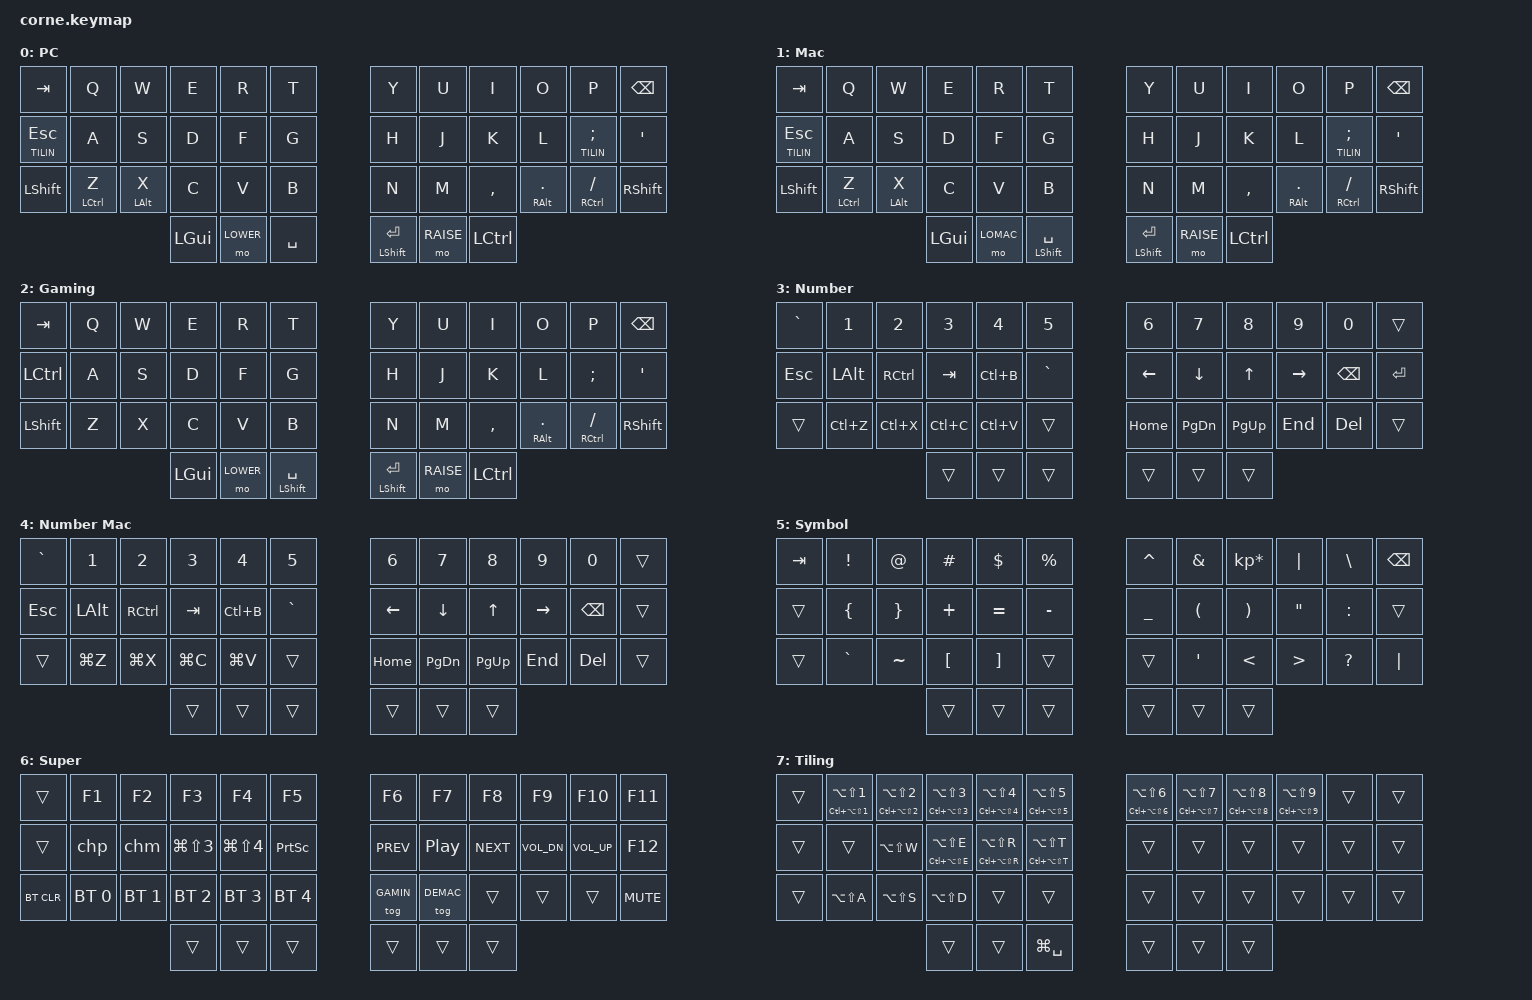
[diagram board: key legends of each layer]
 /*
 * Copyright (c) 2020 The ZMK Contributors
 *
 * SPDX-License-Identifier: MIT
 */

#include <behaviors.dtsi>
#include <dt-bindings/zmk/keys.h>
#include <dt-bindings/zmk/bt.h>

#define DEFAU 0
#define DEMAC 1
#define GAMIN 2
#define LOWER 3
#define LOMAC 4
#define RAISE 5
#define SUPER 6
#define TILIN 7


&kscan0 {
    debounce-press-ms = <1>;
    debounce-release-ms = <5>;
};

/ {
        conditional_layers {
            compatible = "zmk,conditional-layers";
            tri_layer {
                if-layers = <3 5>;
                then-layer = <6>;
            };
            tri_layer_mac {
                if-layers = <4 5>;
                then-layer = <6>;
            };
        };
        behaviors {
            hm: homerow_mods {
                compatible = "zmk,behavior-hold-tap";
                label = "HOMEROW_MODS";
                #binding-cells = <2>;
                tapping-term-ms = <200>;
                quick-tap-ms = <0>;
                flavor = "tap-preferred";
                bindings = <&kp>, <&kp>;
            };

            hk: homerow_hold {
                compatible = "zmk,behavior-hold-tap";
                label = "HOLD_MOD";
                #binding-cells = <2>;
                tapping-term-ms = <150>;
                quick-tap-ms = <0>;
                flavor = "balanced";
                bindings = <&kp>, <&kp>;
            };

            hs: hold_custom {
                compatible = "zmk,behavior-hold-tap";
                label = "HOLD_CUSTOM";
                #binding-cells = <2>;
                tapping-term-ms = <500>;
                quick-tap-ms = <0>;
                flavor = "tap-preferred";
                bindings = <&kp>, <&kp>;
            };

        };
        macros {
            chm: chm {
                label = "change_mac";
                compatible = "zmk,behavior-macro";
                #binding-cells = <0>;
                bindings
                    = <&macro_tap &kp F14>
                    , <&macro_tap &bt BT_SEL 1>
                    ;
            };

            chp: chp {
                label = "change_pc";
                compatible = "zmk,behavior-macro";
                #binding-cells = <0>;
                wait-ms = <300>;
                bindings
                    =  <&macro_tap &bt BT_SEL 0>
                    , <&macro_tap &kp F15>
                    ;
            };
        };

        keymap {
                compatible = "zmk,keymap";

                default_layer {
                        label = "PC";
                        bindings = <
   &kp TAB       &kp Q       &kp W      &kp E &kp R &kp T         &kp Y &kp U  &kp I     &kp O        &kp P          &kp BSPC
   &lt TILIN ESC &kp A       &kp S      &kp D &kp F &kp G         &kp H &kp J  &kp K     &kp L        &lt TILIN SEMI &kp SQT
   &kp LSHFT     &hm LCTRL Z &hm LALT X &kp C &kp V &kp B         &kp N &kp M  &kp COMMA &hm RALT DOT &hm RCTRL FSLH &kp RSHFT
                  &kp LGUI &mo LOWER &kp SPACE   &hm LSHFT RET &mo RAISE &kp LCTRL
                        >;
                };

                mac {
                        label = "Mac";
                        bindings = <
   &kp TAB       &kp Q       &kp W      &kp E &kp R &kp T         &kp Y &kp U  &kp I     &kp O        &kp P          &kp BSPC
   &lt TILIN ESC &kp A       &kp S      &kp D &kp F &kp G         &kp H &kp J  &kp K     &kp L        &lt TILIN SEMI &kp SQT
   &kp LSHFT     &hm LCTRL Z &hm LALT X &kp C &kp V &kp B         &kp N &kp M  &kp COMMA &hm RALT DOT &hm RCTRL FSLH &kp RSHFT
                  &kp LGUI &mo LOMAC &hm LSHFT SPACE   &hm LSHFT RET &mo RAISE &kp LCTRL
                        >;
                };

                gaming_layer {
                        label = "Gaming";
                        bindings = <
   &kp TAB   &kp Q       &kp W      &kp E &kp R &kp T         &kp Y &kp U  &kp I     &kp O        &kp P          &kp BSPC
   &kp LCTRL &kp A       &kp S      &kp D &kp F &kp G         &kp H &kp J  &kp K     &kp L        &kp SEMI       &kp SQT
   &kp LSHFT &kp Z       &kp X      &kp C &kp V &kp B         &kp N &kp M  &kp COMMA &hm RALT DOT &hm RCTRL FSLH &kp RSHFT
                  &kp LGUI &mo LOWER &hm LSHFT SPACE   &hk LSHFT RET &mo RAISE &kp LCTRL
                        >;
                };

                lower_layer {
                        label = "Number";
                        bindings = <
   &kp GRAVE  &kp N1       &kp N2       &kp N3       &kp N4       &kp N5         &kp N6   &kp N7    &kp N8    &kp N9    &kp N0   &trans
   &kp ESC    &kp LALT     &kp RCTRL    &kp TAB      &kp LC(B)    &kp GRAVE      &kp LEFT &kp DOWN  &kp UP    &kp RIGHT &kp BSPC &kp RET
   &trans     &kp LC(Z)    &kp LC(X)    &kp LC(C)    &kp LC(V)    &trans         &kp HOME &kp PG_DN &kp PG_UP &kp END   &kp DEL  &trans
                          	        &trans       &trans       &trans      &trans  &trans    &trans
                        >;
                };

                lower_mac_layer {
                        label = "Number Mac";
                        bindings = <
   &kp GRAVE  &kp N1       &kp N2       &kp N3       &kp N4       &kp N5         &kp N6   &kp N7    &kp N8    &kp N9    &kp N0   &trans
   &kp ESC    &kp LALT    &kp RCTRL     &kp TAB      &kp LC(B)    &kp GRAVE      &kp LEFT &kp DOWN  &kp UP    &kp RIGHT &kp BSPC &trans
   &trans     &kp LG(Z)    &kp LG(X)    &kp LG(C)    &kp LG(V)    &trans         &kp HOME &kp PG_DN &kp PG_UP &kp END   &kp DEL  &trans
                          	        &trans       &trans       &trans      &trans  &trans    &trans
                        >;
                };

                raise_layer {
                        label = "Symbol";
                        bindings = <
   &kp TAB   &kp EXCL  &kp AT    &kp HASH &kp DLLR    &kp PRCNT   &kp CARET &kp AMPS  &kp KP_MULTIPLY &kp PIPE  &kp BSLH  &kp BSPC
   &trans    &kp LBRC  &kp RBRC  &kp PLUS &kp EQUAL   &kp MINUS   &kp UNDER &kp LPAR  &kp RPAR        &kp DQT   &kp COLON &trans
   &trans    &kp GRAVE &kp TILDE &kp LBKT &kp RBKT    &trans      &trans    &kp SQT   &kp LT          &kp GT    &kp QMARK &kp PIPE  
                    	       &trans   &trans       &trans      &trans    &trans    &trans
                        >;
                };

                super_layer {
                        label = "Super";
                        bindings = <
   &trans      &kp F1       &kp F2       &kp F3        &kp F4        &kp F5         &kp F6     &kp F7     &kp F8     &kp F9       &kp F10      &kp F11
   &trans      &chp         &chm          &kp LG(LS(N3)) &kp LG(LS(N4)) &kp PSCRN      &kp C_PREV &kp C_PP   &kp C_NEXT &kp C_VOL_DN &kp C_VOL_UP &kp F12
   &bt BT_CLR  &bt BT_SEL 0 &bt BT_SEL 1 &bt BT_SEL 2  &bt BT_SEL 3  &bt BT_SEL 4   &tog GAMIN     &tog DEMAC     &trans     &trans       &trans       &kp C_MUTE
                          	        &trans        &trans       &trans         &trans     &trans     &trans
                        >;
                };

                tiling_layer {
                        label = "Tiling";
                        bindings = <
   &trans      &hs LC(LA(LS(N1))) LA(LS(N1)) &hs LC(LA(LS(N2))) LA(LS(N2))  &hs LC(LA(LS(N3))) LA(LS(N3)) &hs LC(LA(LS(N4))) LA(LS(N4)) &hs LC(LA(LS(N5))) LA(LS(N5)) &hs LC(LA(LS(N6))) LA(LS(N6)) &hs LC(LA(LS(N7))) LA(LS(N7)) &hs LC(LA(LS(N8))) LA(LS(N8)) &hs LC(LA(LS(N9))) LA(LS(N9)) &trans      &trans
   &trans      &trans         &kp LA(LS(W))   &hs LC(LA(LS(E))) LA(LS(E))  &hs LC(LA(LS(R))) LA(LS(R))    &hs LC(LA(LS(T))) LA(LS(T))         &trans     &trans     &trans     &trans       &trans      &trans
   &trans      &kp LA(LS(A))  &kp LA(LS(S))   &kp LA(LS(D))  &trans        &trans         &trans     &trans     &trans     &trans       &trans      &trans
                          	        &trans        &trans       &kp LG(SPACE)         &trans     &trans     &trans
                        >;
                };

        };
};
